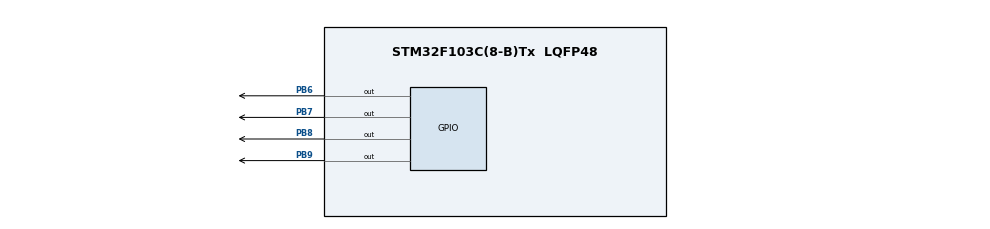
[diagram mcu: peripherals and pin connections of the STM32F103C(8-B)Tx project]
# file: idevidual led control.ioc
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Mcu.Family=STM32F1
Mcu.Name=STM32F103C(8-B)Tx
Mcu.Package=LQFP48
NVIC.PriorityGroup=NVIC_PRIORITYGROUP_4
PA13.Mode=Serial_Wire
PA13.Signal=SYS_JTMS-SWDIO
PA14.Mode=Serial_Wire
PA14.Signal=SYS_JTCK-SWCLK
PB6.Signal=GPIO_Output
PB7.Signal=GPIO_Output
PB8.Signal=GPIO_Output
PB9.Signal=GPIO_Output
ProjectManager.HeapSize=0x200
ProjectManager.StackSize=0x400
ProjectManager.TargetToolchain=STM32CubeIDE
RCC.APB1Freq_Value=8000000
RCC.APB2Freq_Value=8000000
board=custom

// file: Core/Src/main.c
/* USER CODE BEGIN Header */
/**
  ******************************************************************************
  * @file           : main.c
  * @brief          : Main program body
  ******************************************************************************
  * @attention
  *
  * Copyright (c) 2025 STMicroelectronics.
  * All rights reserved.
  *
  * This software is licensed under terms that can be found in the LICENSE file
  * in the root directory of this software component.
  * If no LICENSE file comes with this software, it is provided AS-IS.
  *
  ******************************************************************************
  */
/* USER CODE END Header */
#include "main.h"
#include <stdlib.h>

void SystemClock_Config(void);
static void MX_GPIO_Init(void);

int main(void)
{

  /* MCU Configuration--------------------------------------------------------*/

  /* Reset of all peripherals, Initializes the Flash interface and the Systick. */
  HAL_Init();

  /* Configure the system clock */
  SystemClock_Config();

  /* Initialize all configured peripherals */
  MX_GPIO_Init();

  /* Infinite loop */
  /* USER CODE BEGIN WHILE */
  while (1)
  {/*
	  HAL_GPIO_WritePin(GPIOB,GPIO_PIN_9,1);
	  HAL_Delay(500);
	  HAL_GPIO_WritePin(GPIOB,GPIO_PIN_9,0);
	  HAL_Delay(500);*/
/*test ccode
	  HAL_GPIO_WritePin(GPIOB, GPIO_PIN_9, 1);
	  	  	  HAL_GPIO_WritePin(GPIOB, GPIO_PIN_8, 1);
	  	  	  HAL_GPIO_WritePin(GPIOB, GPIO_PIN_7, 1);
	  	  	  HAL_GPIO_WritePin(GPIOB, GPIO_PIN_6, 1);

	  	  	  HAL_Delay(500);

	  	  	  HAL_GPIO_WritePin(GPIOB, GPIO_PIN_9, 0);
	  	  	  HAL_GPIO_WritePin(GPIOB, GPIO_PIN_8, 0);
	  	  	  HAL_GPIO_WritePin(GPIOB, GPIO_PIN_7, 0);
	  	  	  HAL_GPIO_WritePin(GPIOB, GPIO_PIN_6, 0);

	  	  	  HAL_Delay(500);

	  	  	  HAL_GPIO_WritePin(GPIOB, GPIO_PIN_9, 1);
	  	  	  HAL_GPIO_WritePin(GPIOB, GPIO_PIN_8, 1);
	  	  	  HAL_GPIO_WritePin(GPIOB, GPIO_PIN_7, 1);
	  	  	  HAL_GPIO_WritePin(GPIOB, GPIO_PIN_6, 1);

	  	  	  HAL_Delay(500);

	  	  	  HAL_GPIO_WritePin(GPIOB, GPIO_PIN_9, 1);
	  	  	  HAL_GPIO_WritePin(GPIOB, GPIO_PIN_8, 0);
	  	  	  HAL_GPIO_WritePin(GPIOB, GPIO_PIN_7, 0);
	  	  	  HAL_GPIO_WritePin(GPIOB, GPIO_PIN_6, 1);

	  	  	  HAL_Delay(500);

	  	  	  HAL_GPIO_WritePin(GPIOB, GPIO_PIN_9, 1);
	  	  	  HAL_GPIO_WritePin(GPIOB, GPIO_PIN_8, 1);
	  	  	  HAL_GPIO_WritePin(GPIOB, GPIO_PIN_7, 1);
	  	  	  HAL_GPIO_WritePin(GPIOB, GPIO_PIN_6, 1);

	  	  	  HAL_Delay(500);
	  	  	  HAL_GPIO_WritePin(GPIOB, GPIO_PIN_9, 0);
	  	  	  HAL_GPIO_WritePin(GPIOB, GPIO_PIN_8, 1);
	  	  	  HAL_GPIO_WritePin(GPIOB, GPIO_PIN_7, 1);
	  	  	  HAL_GPIO_WritePin(GPIOB, GPIO_PIN_6, 0);
	  	  	  HAL_Delay(500);*/
	  /*running effect
	  for (int i = 9; i >= 6; i--) {
	      HAL_GPIO_WritePin(GPIOB, 1 << i, 1);
	      HAL_Delay(200);
	      HAL_GPIO_WritePin(GPIOB, 1 << i, 0);
	  }*/
	  //ping pong effect
	  for(int i=0;i<10;i++)
	  {
	  for (int i = 9; i >= 6; i--) {
	      HAL_GPIO_WritePin(GPIOB, 1 << i, 1);
	      HAL_Delay(200);
	      HAL_GPIO_WritePin(GPIOB, 1 << i, 0);
	  }
	  for (int i = 7; i <= 9; i++) {
	      HAL_GPIO_WritePin(GPIOB, 1 << i, 1);
	      HAL_Delay(200);
	      HAL_GPIO_WritePin(GPIOB, 1 << i, 0);
	  }
	  }
	 for(int i=0;i<10;i++){
	  HAL_GPIO_WritePin(GPIOB, GPIO_PIN_7 | GPIO_PIN_8, 1);
	      HAL_Delay(300);
	      HAL_GPIO_WritePin(GPIOB, GPIO_PIN_6 | GPIO_PIN_9, 1);
	      HAL_Delay(300);

	      HAL_GPIO_WritePin(GPIOB, GPIO_PIN_7 | GPIO_PIN_8, 0);
	      HAL_Delay(300);
	      HAL_GPIO_WritePin(GPIOB, GPIO_PIN_6 | GPIO_PIN_9, 0);
	      HAL_Delay(300);

	 }
	 for(int i=0;i<10;i++){
		 HAL_GPIO_WritePin(GPIOB, GPIO_PIN_9 | GPIO_PIN_7, 1);
		    HAL_GPIO_WritePin(GPIOB, GPIO_PIN_8 | GPIO_PIN_6, 0);
		    HAL_Delay(300);

		    HAL_GPIO_WritePin(GPIOB, GPIO_PIN_9 | GPIO_PIN_7, 0);
		    HAL_GPIO_WritePin(GPIOB, GPIO_PIN_8 | GPIO_PIN_6, 1);
		    HAL_Delay(300);
	 }

    /* USER CODE END WHILE */

  }
}

void SystemClock_Config(void)
{
  RCC_OscInitTypeDef RCC_OscInitStruct = {0};
  RCC_ClkInitTypeDef RCC_ClkInitStruct = {0};

  /** Initializes the RCC Oscillators according to the specified parameters
  * in the RCC_OscInitTypeDef structure.
  */
  RCC_OscInitStruct.OscillatorType = RCC_OSCILLATORTYPE_HSI;
  RCC_OscInitStruct.HSIState = RCC_HSI_ON;
  RCC_OscInitStruct.HSICalibrationValue = RCC_HSICALIBRATION_DEFAULT;
  RCC_OscInitStruct.PLL.PLLState = RCC_PLL_NONE;
  if (HAL_RCC_OscConfig(&RCC_OscInitStruct) != HAL_OK)
  {
    Error_Handler();
  }

  /** Initializes the CPU, AHB and APB buses clocks
  */
  RCC_ClkInitStruct.ClockType = RCC_CLOCKTYPE_HCLK|RCC_CLOCKTYPE_SYSCLK
                              |RCC_CLOCKTYPE_PCLK1|RCC_CLOCKTYPE_PCLK2;
  RCC_ClkInitStruct.SYSCLKSource = RCC_SYSCLKSOURCE_HSI;
  RCC_ClkInitStruct.AHBCLKDivider = RCC_SYSCLK_DIV1;
  RCC_ClkInitStruct.APB1CLKDivider = RCC_HCLK_DIV1;
  RCC_ClkInitStruct.APB2CLKDivider = RCC_HCLK_DIV1;

  if (HAL_RCC_ClockConfig(&RCC_ClkInitStruct, FLASH_LATENCY_0) != HAL_OK)
  {
    Error_Handler();
  }
}

static void MX_GPIO_Init(void)
{
  GPIO_InitTypeDef GPIO_InitStruct = {0};

  /* GPIO Ports Clock Enable */
  __HAL_RCC_GPIOA_CLK_ENABLE();
  __HAL_RCC_GPIOB_CLK_ENABLE();

  /*Configure GPIO pin Output Level */
  HAL_GPIO_WritePin(GPIOB, GPIO_PIN_6|GPIO_PIN_7|GPIO_PIN_8|GPIO_PIN_9, GPIO_PIN_RESET);

  /*Configure GPIO pins : PB6 PB7 PB8 PB9 */
  GPIO_InitStruct.Pin = GPIO_PIN_6|GPIO_PIN_7|GPIO_PIN_8|GPIO_PIN_9;
  GPIO_InitStruct.Mode = GPIO_MODE_OUTPUT_PP;
  GPIO_InitStruct.Pull = GPIO_NOPULL;
  GPIO_InitStruct.Speed = GPIO_SPEED_FREQ_LOW;
  HAL_GPIO_Init(GPIOB, &GPIO_InitStruct);

}

void Error_Handler(void)
{
  __disable_irq();
  while (1)
  {
  }
}
